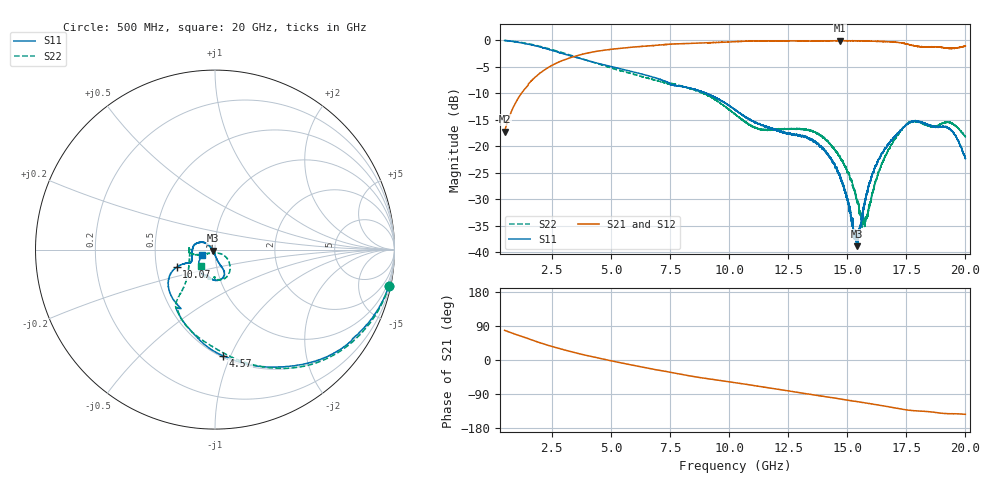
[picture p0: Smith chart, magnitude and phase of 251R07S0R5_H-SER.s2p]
!{201R07S0R5}
!Johanson Technology Inc.
!www.johansontechnology.com
!Test Board Conditions:
!Substrate Type  RO4350B
!Substrate Thickness  10 mil
!Substrate Dk  3.66
!TL Type: GCPW
!TL Trace Width  21 mil
!TL Gap  20 mil
!Electrode orientation  Horizontal
!DUT TOPOLOGY	SERIES
!Mounting Pad LxW  16x21 mil
!Agilent Technologies,N5230A,MY45001966,A.07.50.67
!Agilent N5230A: A.07.50.67
! Created Mon Mar  9 16:15:44 2020
# mhz S ma R 50
! 2 Port Network Data from SP1.SP block
! freq  magS11  angS11  magS21  angS21  magS12  angS12  magS22  angS22
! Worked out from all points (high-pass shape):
!   19501 points, 500 MHz to 20 GHz, reference 50 ohm
!   highest |S21| = -0.11 dB at 14.69 GHz (marker M1); lowest = -17.2 dB at 500 MHz (marker M2)
!   |S21| within 3 dB of the highest: 3.443652 GHz to 3.44432 GHz (667.8 kHz wide, 0.0194 % of centre); 3.447 GHz to end of sweep
!   lowest |S11| = -38.9 dB at 15.41 GHz (marker M3), VSWR 1.02, Z = 49.1 - j0.624 ohm
!   |S11| at or under -10 dB: 8.992687 GHz to 8.993755 GHz (1.068 MHz wide, 0.0119 % of centre); 8.999345 GHz to 9.002988 GHz (3.644 MHz wide, 0.0405 % of centre); 9.006 GHz to end of sweep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
!   |S22| runs from -35.3 to -0.1 dB; largest |S21 - S12| = 0.013
!   S11 on the Smith chart (normalised r, x): 500 MHz: 0.50, -9.60; 4.57 GHz: 0.51, -0.94; 10.07 GHz: 0.64, -0.13; 20 GHz: 0.87, -0.05
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500  0.9894 -11.9  0.1373 78.3  0.1378 78.5  0.9902 -11.8
1000  0.9571 -23.0  0.2649 66.9  0.2652 66.9  0.964 -22.9
1694  0.8949 -38.1  0.426 51.9  0.4273 51.9  0.9038 -37.9
2571  0.7902 -54.5  0.5873 34.6  0.5865 34.6  0.8041 -54.6
3750  0.6643 -74.2  0.7299 15.1  0.7305 15.2  0.6678 -72.8
4570  0.593 -85.8  0.7933 3.8  0.7935 3.7  0.587 -84.0
7000  0.4315 -115.2  0.8952 -26.7  0.8949 -26.6  0.4115 -119.2
10068  0.2352 -155.3  0.959 -58.0  0.9613 -58.1  0.215 -135.9
10250  0.2206 -155.5  0.9633 -59.7  0.9644 -59.7  0.2002 -139.0
11298  0.1613 -152.0  0.9792 -69.8  0.9799 -69.8  0.1441 -168.2
13500  0.1149 165.0  0.9822 -91.4  0.9744 -91.2  0.1391 -171.8
14146  0.08514 150.4  0.9818 -97.3  0.9803 -97.4  0.113 -164.9
14685  0.05318 141.8  0.9878 -102.7  0.9797 -102.6  0.07892 -160.2
15411  0.01141 -146.1  0.9809 -109.9  0.9825 -109.6  0.03006 -138.4
15656  0.02341 -90.2  0.9777 -112.3  0.9807 -111.9  0.02011 -98.0
15777  0.03156 -88.6  0.9774 -113.5  0.9781 -113.2  0.02063 -72.2
16130  0.05975 -78.3  0.9727 -116.8  0.9719 -116.9  0.04031 -36.5
16750  0.1035 -68.3  0.9636 -123.4  0.9594 -123.5  0.09304 -38.7
17425  0.1529 -70.9  0.927 -130.9  0.9277 -130.8  0.1532 -59.3
17946  0.1709 -88.2  0.8713 -134.4  0.8748 -134.2  0.1706 -81.1
19348  0.1447 -123.5  0.8344 -141.7  0.8344 -141.4  0.1674 -107.0
20000  0.07609 -156.6  0.8781 -143.4  0.8775 -143.3  0.1232 -130.6
